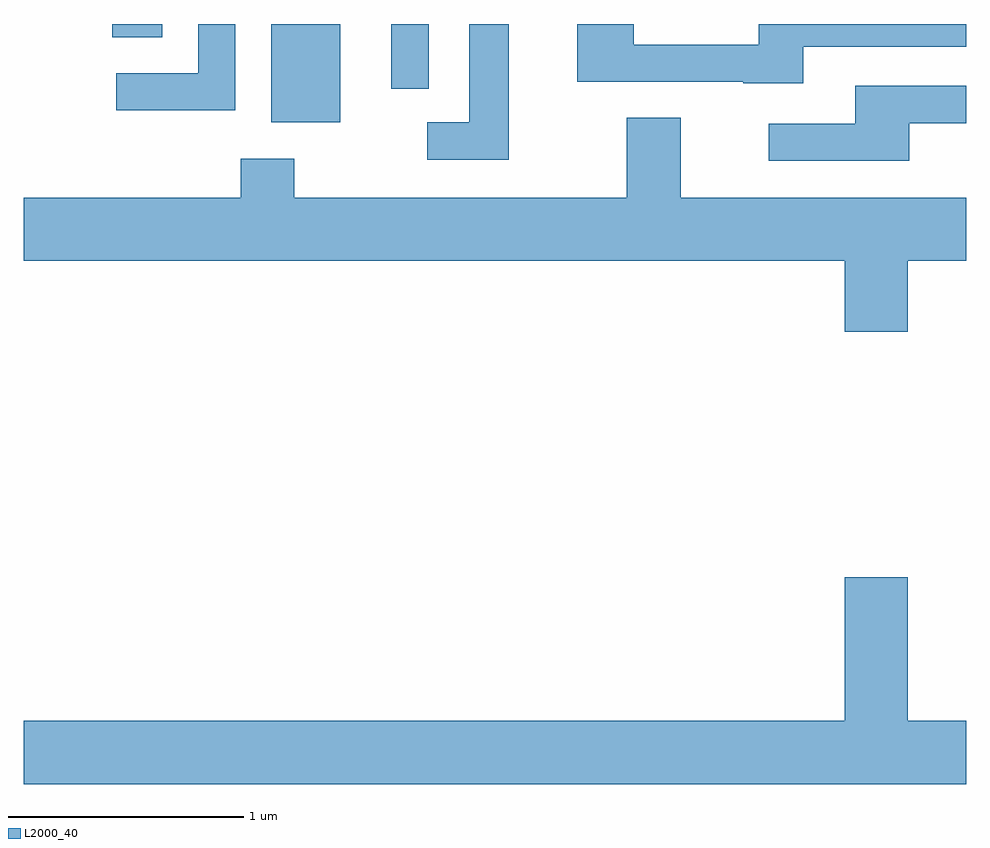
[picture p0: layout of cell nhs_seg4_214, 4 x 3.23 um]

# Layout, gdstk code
import gdstk
lib = gdstk.Library(unit=1e-6, precision=1e-09)
def R(c, l, rs):  # rectangles x0, y0, x1, y1
    for r in rs: c.add(gdstk.rectangle(r[:2], r[2:], *l))
def P(c, l, *ps):  # polygons
    for p in ps: c.add(gdstk.Polygon(p, *l))
L2000_40 = (2000, 40)

nhs_seg4_214 = lib.new_cell('nhs_seg4_214')
R(nhs_seg4_214, L2000_40, [(192.661,1277.566,192.954,1277.982), (193.171,1277.708,193.329,1277.982), (191.986,1277.926,192.199,1277.982)])
P(nhs_seg4_214, L2000_40, [(193.669,1277.982),(193.501,1277.982),(193.501,1277.564),(193.323,1277.564),(193.323,1277.406),(193.669,1277.406)],
  [(194.919,1277.886),(195.611,1277.886),(195.611,1277.982),(194.731,1277.982),(194.731,1277.894),(194.199,1277.894),(194.199,1277.982),(193.961,1277.982),(193.961,1277.736),(194.665,1277.736),(194.665,1277.731),(194.919,1277.731)],
  [(192.509,1277.982),(192.351,1277.982),(192.351,1277.774),(192.003,1277.774),(192.003,1277.616),(192.509,1277.616)],
  [(195.369,1277.561),(195.611,1277.561),(195.611,1277.719),(195.141,1277.719),(195.141,1277.559),(194.773,1277.559),(194.773,1277.401),(195.369,1277.401)],
  [(195.364,1276.976),(195.611,1276.976),(195.611,1277.244),(194.399,1277.244),(194.399,1277.584),(194.171,1277.584),(194.171,1277.244),(192.759,1277.244),(192.759,1277.409),(192.531,1277.409),(192.531,1277.244),(191.611,1277.244),(191.611,1276.976),(195.096,1276.976),(195.096,1276.676),(195.364,1276.676)],
  [(195.611,1275.024),(195.364,1275.024),(195.364,1275.634),(195.096,1275.634),(195.096,1275.024),(191.611,1275.024),(191.611,1274.756),(195.611,1274.756)])

lib.write_gds('nhs_seg4_214.gds')
